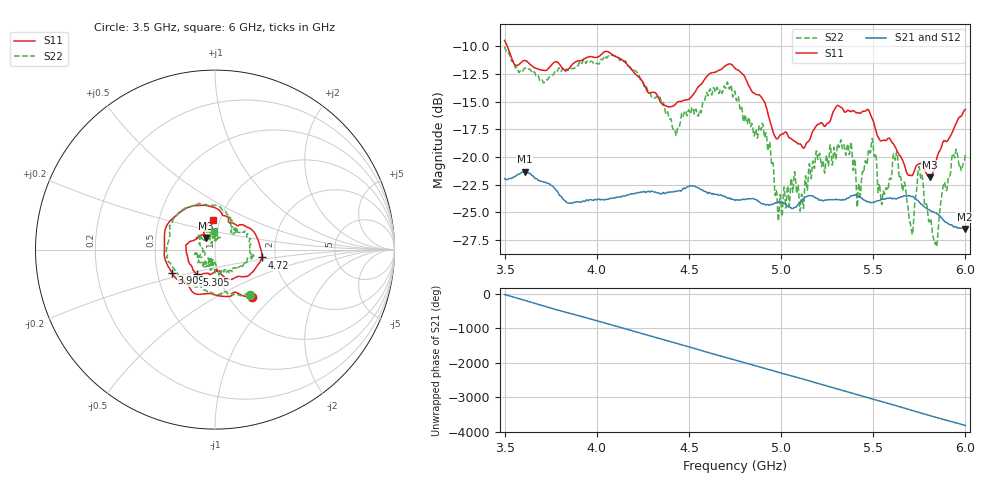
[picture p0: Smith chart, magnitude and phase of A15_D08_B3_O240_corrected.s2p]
! Created with skrf 1.9.0 (http://scikit-rf.org).
# Hz S RI R 50.0
!freq ReS11 ImS11 ReS21 ImS21 ReS12 ImS12 ReS22 ImS22
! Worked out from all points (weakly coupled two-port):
!   1601 points, 3.5 GHz to 6 GHz, reference 50 ohm
!   highest |S21| = -21.32 dB at 3.609 GHz (marker M1); lowest = -26.5 dB at 5.995 GHz (marker M2)
!   lowest |S11| = -21.9 dB at 5.806 GHz (marker M3), VSWR 1.18, Z = 45 + j5.83 ohm
!   |S11| at or under -10 dB: 3.515 GHz to end of sweep
!   |S22| runs from -28.1 to -10.0 dB; largest |S21 - S12| = 0.0011
!   S11 on the Smith chart (normalised r, x): 3.5 GHz: 1.26, -0.76; 3.909 GHz: 0.60, -0.17; 4.72 GHz: 1.69, -0.16; 5.305 GHz: 0.79, -0.22; 6 GHz: 0.92, +0.31
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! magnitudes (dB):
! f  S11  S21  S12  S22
! 3.5 GHz  -9.5  -22.0  -22.0  -10.0
! 3.609 GHz  -11.3  -21.3  -21.3  -11.9
! 3.909 GHz  -11.3  -24.1  -24.1  -11.4
! 3.917 GHz  -11.3  -24.1  -24.1  -11.5
! 4.334 GHz  -14.6  -23.3  -23.2  -14.6
! 4.425 GHz  -15.3  -23.1  -23.1  -17.6
! 4.72 GHz  -11.6  -23.7  -23.8  -13.9
! 4.75 GHz  -12.0  -23.9  -23.9  -14.1
! 4.909 GHz  -15.0  -24.3  -24.2  -18.2
! 4.994 GHz  -18.0  -24.1  -24.1  -23.6
! 5.167 GHz  -17.9  -23.5  -23.5  -21.3
! 5.305 GHz  -15.3  -23.9  -23.8  -19.0
! 5.42 GHz  -16.0  -23.6  -23.6  -22.5
! 5.584 GHz  -18.3  -23.7  -23.7  -22.4
! 5.622 GHz  -19.2  -23.8  -23.8  -20.2
! 5.706 GHz  -21.7  -23.6  -23.6  -26.5
! 5.755 GHz  -20.6  -24.2  -24.2  -21.6
! 5.806 GHz  -21.9  -24.8  -24.8  -25.8
! 5.839 GHz  -20.6  -25.1  -25.0  -28.0
! 5.938 GHz  -17.4  -26.3  -26.3  -19.8
! 5.995 GHz  -15.8  -26.5  -26.5  -20.3
! 6 GHz  -15.7  -26.5  -26.5  -19.7
